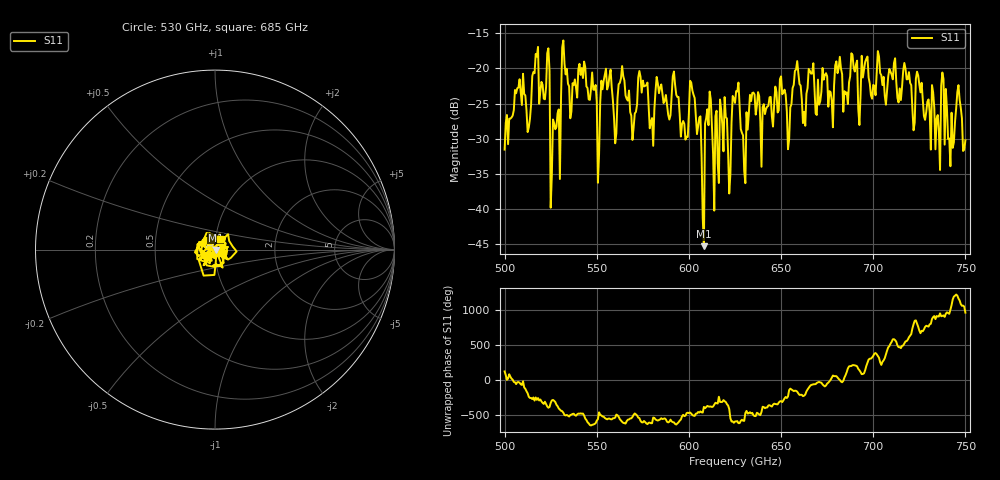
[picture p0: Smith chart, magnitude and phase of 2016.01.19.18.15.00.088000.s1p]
!Created with skrf (http://scikit-rf.org).
# GHz S RI R 50.0
!freq ReS11 ImS11
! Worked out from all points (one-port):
!   401 points, 500 GHz to 750 GHz, reference 50 ohm
!   lowest |S11| = -45.2 dB at 608.1 GHz (marker M1), VSWR 1.01, Z = 50.5 - j0.275 ohm
!   |S11| at or under -10 dB: start of sweep to end of sweep
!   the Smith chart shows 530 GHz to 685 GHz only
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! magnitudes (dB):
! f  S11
! 500 GHz  -31.5
! 506.9 GHz  -22.8
! 513.1 GHz  -28.4
! 516.9 GHz  -17.9
! 523.1 GHz  -17.8
! 526.2 GHz  -27.2
! 531.2 GHz  -17.0
! 542.5 GHz  -21.4
! 550.6 GHz  -36.2
! 562.5 GHz  -22.0
! 569.4 GHz  -30.2
! 573.8 GHz  -21.2
! 580 GHz  -27.0
! 593.8 GHz  -24.1
! 598.1 GHz  -30.1
! 601.9 GHz  -23.1
! 608.1 GHz  -45.2
! 610.6 GHz  -28.1
! 621.9 GHz  -37.8
! 625 GHz  -24.9
! 629.4 GHz  -29.5
! 634.4 GHz  -23.5
! 656.2 GHz  -22.8
! 687.5 GHz  -21.1
! 718.8 GHz  -21.5
! 735 GHz  -26.6
! 746.2 GHz  -22.4
! 750 GHz  -30.2
